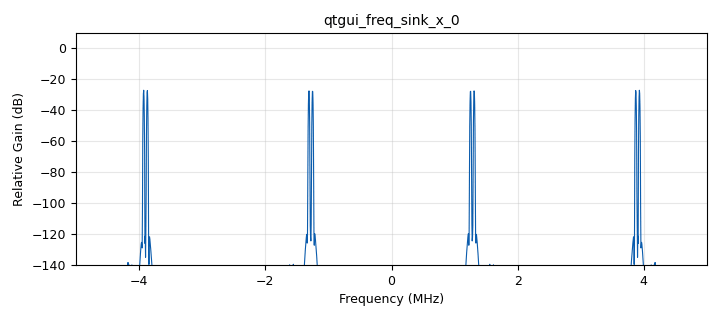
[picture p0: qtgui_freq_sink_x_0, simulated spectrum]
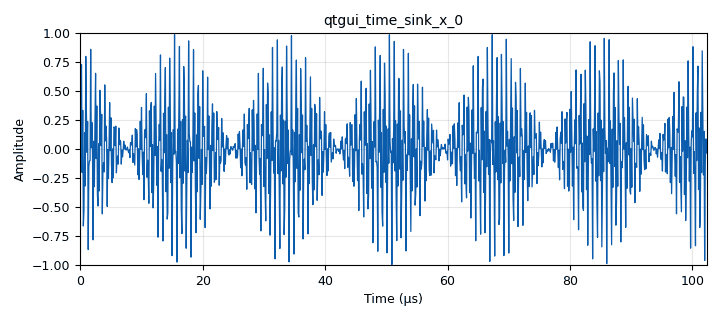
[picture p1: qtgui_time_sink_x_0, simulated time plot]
options:
  parameters:
    author: cardo
    generate_options: qt_gui
    id: Lab_1_punto_6
    output_language: python
    title: Not titled yet
  states: {}

blocks:
- name: freq_a
  id: variable_qtgui_range
  parameters:
    label: frequencyA
    outputmsgname: value
    showports: 'False'
    start: '1000'
    step: '1000'
    stop: '4000000'
    value: '29000'
  states: {}
- name: freq_b
  id: variable_qtgui_range
  parameters:
    label: frequencyB
    outputmsgname: value
    showports: 'False'
    start: '1000'
    step: '1000'
    stop: '4000000'
    value: '2592000'
  states: {}
- name: freq_c
  id: variable_qtgui_range
  parameters:
    label: frequencyC
    outputmsgname: value
    showports: 'False'
    start: '1000'
    step: '1000'
    stop: '4000000'
    value: '1310500'
  states: {}
- name: samp_rate
  id: variable_qtgui_range
  parameters:
    label: frecuencia de muestreo
    outputmsgname: value
    showports: 'False'
    start: '1000'
    step: '1000'
    stop: '80000000'
    value: '10000000'
  states: {}
- name: analog_sig_source_x_0
  id: analog_sig_source_x
  parameters:
    amp: '1'
    freq: freq_c
    offset: '0'
    phase: '0'
    samp_rate: samp_rate
    type: float
    waveform: analog.GR_COS_WAVE
  states: {}
- name: analog_sig_source_x_1
  id: analog_sig_source_x
  parameters:
    amp: '1'
    freq: freq_b
    offset: '0'
    phase: '0'
    samp_rate: samp_rate
    type: float
    waveform: analog.GR_COS_WAVE
  states: {}
- name: analog_sig_source_x_2
  id: analog_sig_source_x
  parameters:
    amp: '1'
    freq: freq_a
    offset: '0'
    phase: '0'
    samp_rate: samp_rate
    type: float
    waveform: analog.GR_COS_WAVE
  states: {}
- name: blocks_multiply_xx_0
  id: blocks_multiply_xx
  parameters:
    num_inputs: '3'
    type: float
  states: {}
- name: blocks_throttle_0
  id: blocks_throttle
  parameters:
    samples_per_second: samp_rate
    type: float
  states: {}
- name: qtgui_freq_sink_x_0
  id: qtgui_freq_sink_x
  parameters:
    bw: samp_rate
    fc: '0'
    fftsize: '2048'
    type: float
  states: {}
- name: qtgui_time_sink_x_0
  id: qtgui_time_sink_x
  parameters:
    size: '1024'
    srate: samp_rate
    type: float
  states: {}

connections:
- [analog_sig_source_x_0, '0', blocks_multiply_xx_0, '2']
- [analog_sig_source_x_1, '0', blocks_multiply_xx_0, '1']
- [analog_sig_source_x_2, '0', blocks_multiply_xx_0, '0']
- [blocks_multiply_xx_0, '0', blocks_throttle_0, '0']
- [blocks_throttle_0, '0', qtgui_freq_sink_x_0, '0']
- [blocks_throttle_0, '0', qtgui_time_sink_x_0, '0']

metadata:
  file_format: 1
  grc_version: 3.10.4.0
